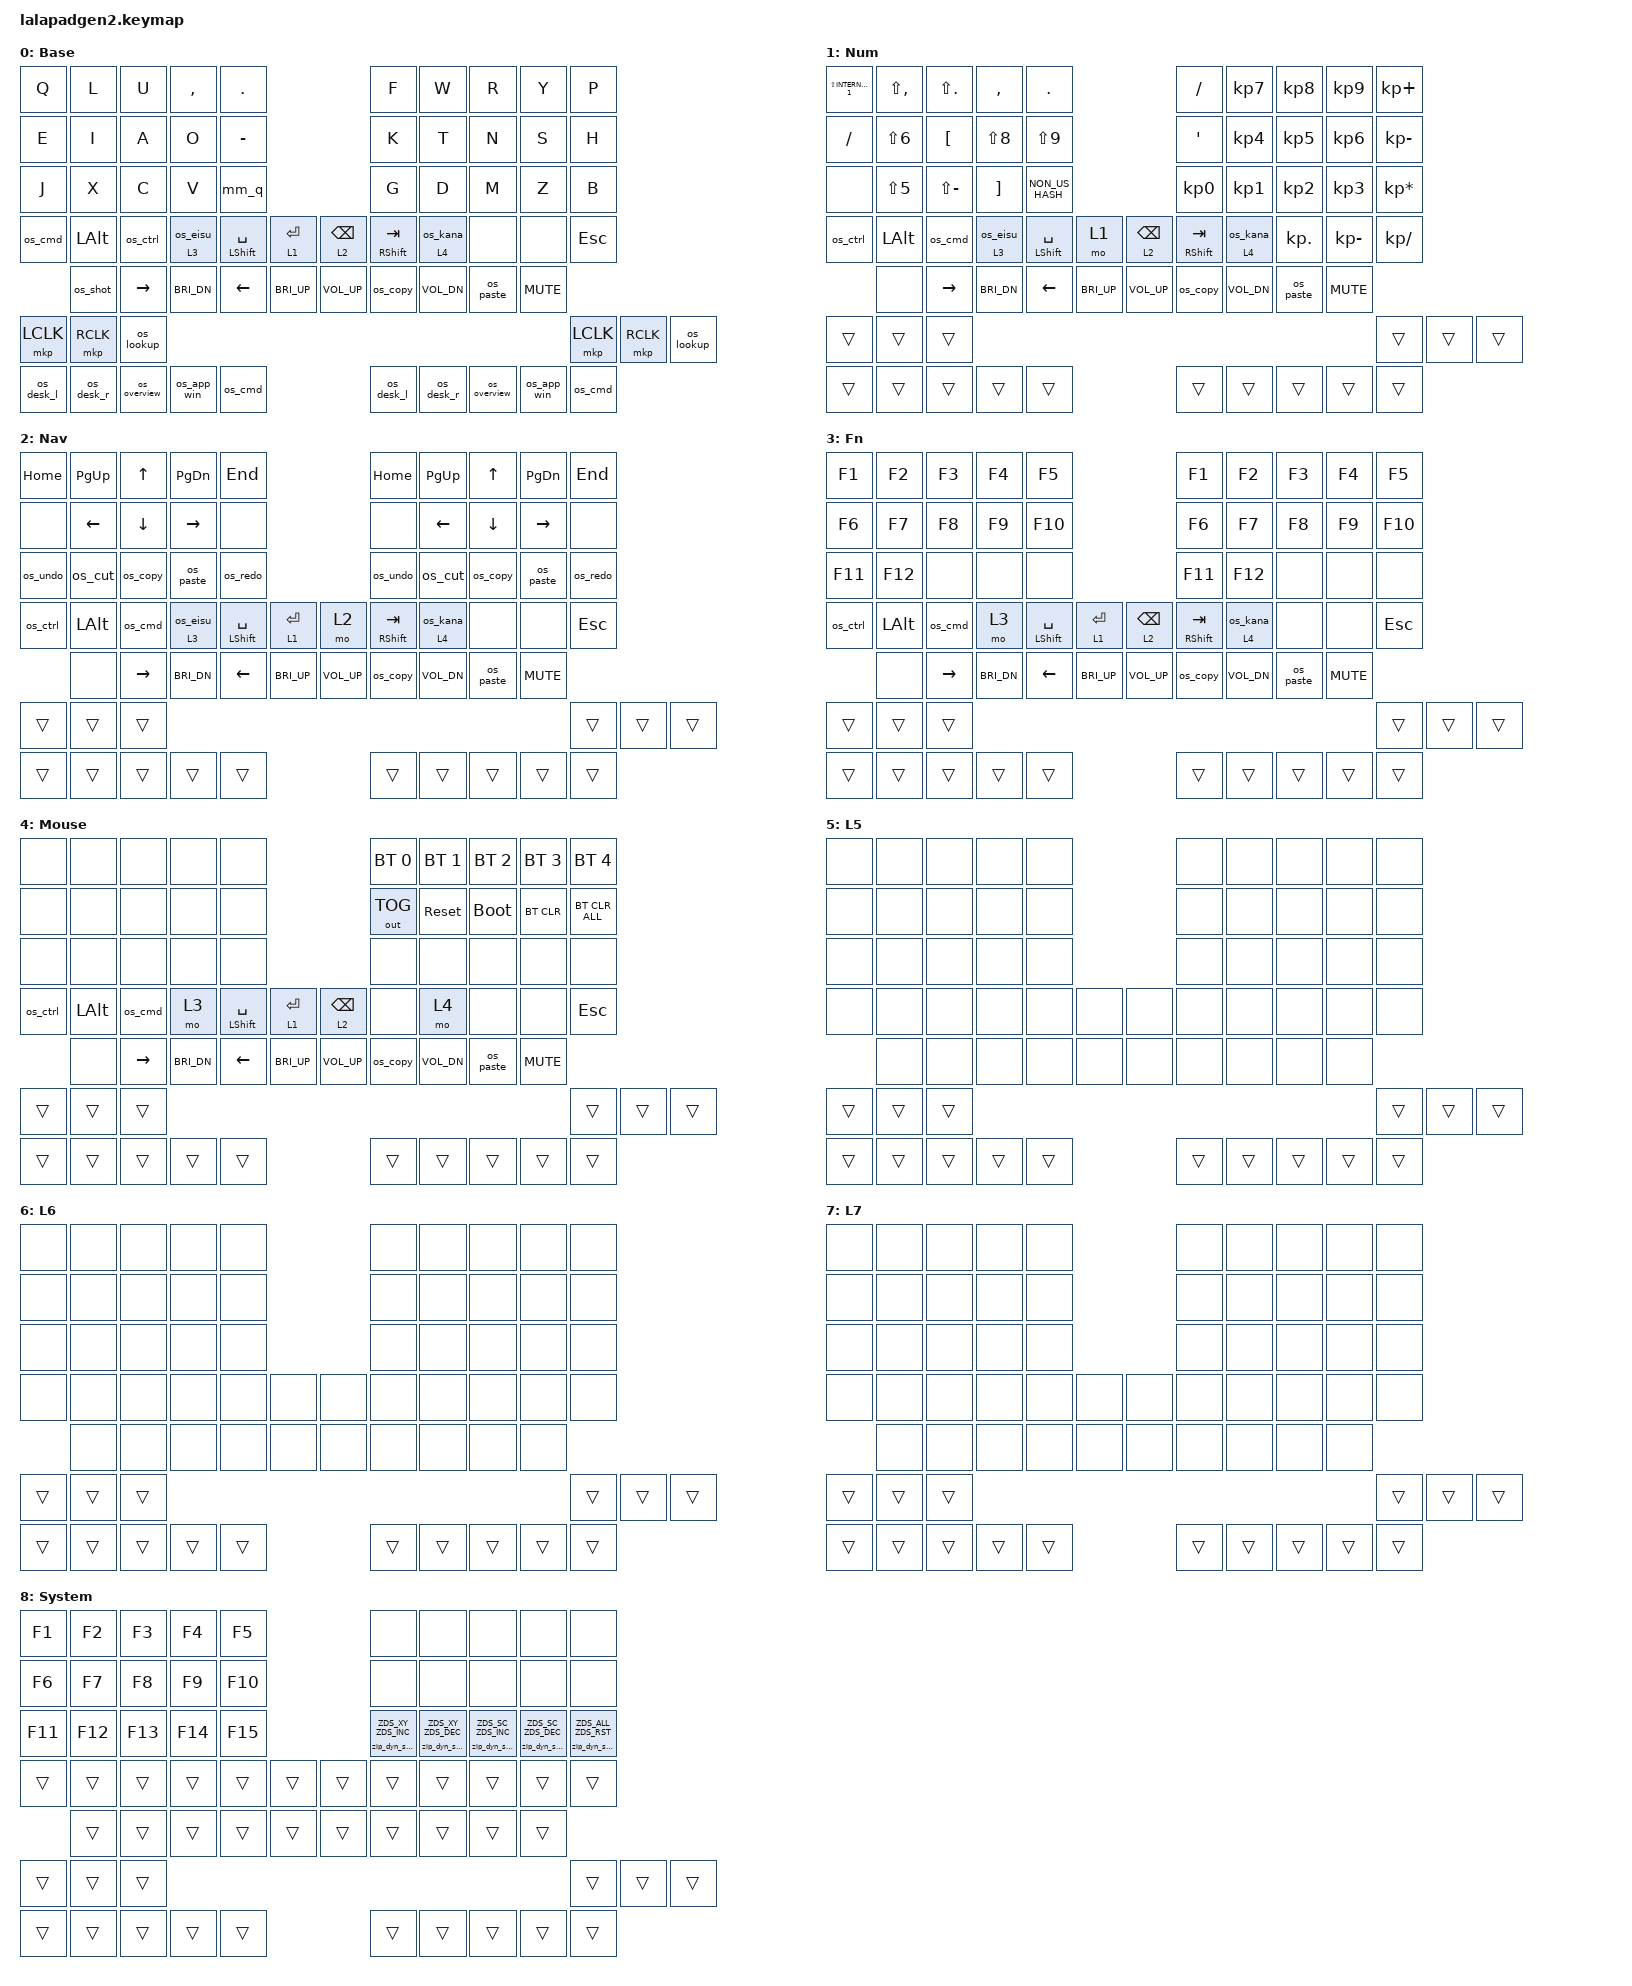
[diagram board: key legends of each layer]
/*
 * LaLapad Gen2 キーマップ — Cornix の Cornix_20261126.vil（10レイヤー）から起こしたもの
 * （REQ-189 で作成、REQ-192・REQ-193 の Gen2 側の決めごと、REQ-194 で .vil を差し替え）
 *
 * 正本は docs/cornix_20261126.vil と tools/vil2zmk.py（このファイルは生成物。手で直さず、再生成する）。
 *   python3 tools/vil2zmk.py docs/cornix_20261126.vil config/lalapadgen2.keymap
 *   python3 tools/gen_visualizer.py
 *
 * レイヤー: 0 Base(大西) / 1 Num / 2 Nav / 3 Fn / 4 Mouse / 5-7 空き（.vil の L7〜L9）/ 8 System
 *   - .vil の L5（QWERTY）と L6（別のカナ配列）は移さない（REQ-195 追記2）。後ろのレイヤーは 2 つずつ繰り上がる
 *   - 1 と 2 を同時に押すと 8 System（Gen2 標準の Num+Nav→System と同じ仕組み）。F1〜F15 とトラックパッドの速さ
 *   - トラックパッドの低速モードは shield 側で layer 1・2 に掛かる（Gen2 標準のまま）
 *   - 左下段の修飾キーは .vil どおり（L0 は ⌘・Opt・Ctrl、L1〜L4 は Ctrl・Opt・⌘）
 *   - 右下段は .vil どおり（Base は Esc）。Delete・戻る の仮置きはしない（REQ-194 判断点 (e)）
 *   - Num の右下段: Esc を外し、その位置に /、隣に -（REQ-194 追記）
 *   - BT 切り替え: かな長押し（4 Mouse）の右手上段に BT 1〜5（BT_SEL 0〜4）、その下の段に
 *     出力先切替・リセット・ブートローダー・BT 登録解除・全解除（REQ-195 追記3。System から移した）
 *   - 5方向スイッチ（L0〜L4）: 左右＝←→／⌘C・⌘V、上下＝輝度／音量（REQ-192・193）、押し込みは .vil どおり
 *   - トラックパッドのジェスチャーは macOS の作法（⌃←/⌃→・Mission Control など）
 *   - コンボ・マクロは .vil の定義どおり（Shift の親指＋? で !、M0）。コンボの待ち時間は 50 ms（判断点 (k)）
 *   - ？ のキーは mod-morph でも変換する（シフトを保持したまま ？ を押しても ！、REQ-195 追記5）
 *   - レイヤー間の切替（REQ-195 追記6）: Num / Nav / Fn / Mouse では親指のレイヤーキー位置が &to（切替）。
 *     他のレイヤーのキー位置を押すとそのレイヤーへ移り、自分のキー位置を押すと Base へ戻る。
 *     Num の英数・かな位置だけは長押しのまま（タップが要るため）。System は従来どおり Base で両長押し
 *   - 接続先 OS で変わる割当（REQ-195）: Bluetooth プロファイル 4・5（BT_SEL 3・4）と USB は Windows 用、
 *     Bluetooth プロファイル 1〜3 とどこにも接続していないときは Mac 用（USB は追記4）。os_* の behavior（src/behaviors/behavior_os_morph.c）が押した瞬間に選ぶ。
 *     bindings の 1 番目が Mac 用（.vil どおり）、2 番目が Windows 用
 */

#define ZMK_POINTING_DEFAULT_SCRL_VAL 120   /* smooth scrolling 有効時の推奨値 */

#include <input/processors.dtsi>
#include <dt-bindings/zmk/zip_dynamic_scale.h>
#include <behaviors.dtsi>
#include <dt-bindings/zmk/bt.h>
#include <dt-bindings/zmk/keys.h>
#include <dt-bindings/zmk/modifiers.h>
#include <dt-bindings/zmk/outputs.h>
#include <dt-bindings/zmk/pointing.h>

#define BASE   0
#define NUM    1
#define NAV    2
#define FUNC   3
#define MOUSE  4
#define SYSTEM 8

/* 片手側のキー位置（Chordal Hold 相当の判定に使う） */
#define KEYS_L 0 1 2 3 4 10 11 12 13 14 20 21 22 23 24
#define KEYS_R 5 6 7 8 9 15 16 17 18 19 25 26 27 28 29
#define THUMBS 30 31 32 33 34 35 36 37 38 39 40 41

/* .vil の設定: Tapping Term 250 / Permissive Hold オン / Hold On Other Key Press オフ /
 *              Chordal Hold オン / Flow Tap 120 / Quick Tap Term は未設定（= Tapping Term） */
&lt {
    flavor = "balanced";
    tapping-term-ms = <250>;
    quick-tap-ms = <250>;
    require-prior-idle-ms = <120>;
};

/ {
    behaviors {
        zip_dyn_scale: zip_dyn_scale {
            compatible = "zmk,behavior-zip-dynamic-scale";
            #binding-cells = <2>;
        };

        zip_dyn_scale_set: zip_dyn_scale_set {
            compatible = "zmk,behavior-zip-dynamic-scale-set";
            #binding-cells = <2>;
        };

        /* 左手側の mod-tap: 反対の手か親指と同時押しのときだけホールドにする */
        ht_l: hold_tap_left {
            compatible = "zmk,behavior-hold-tap";
            #binding-cells = <2>;
            flavor = "balanced";
            tapping-term-ms = <250>;
            quick-tap-ms = <250>;
            require-prior-idle-ms = <120>;
            hold-trigger-key-positions = <KEYS_R THUMBS>;
            hold-trigger-on-release;
            bindings = <&kp>, <&kp>;
        };

        /* 右手側の mod-tap */
        ht_r: hold_tap_right {
            compatible = "zmk,behavior-hold-tap";
            #binding-cells = <2>;
            flavor = "balanced";
            tapping-term-ms = <250>;
            quick-tap-ms = <250>;
            require-prior-idle-ms = <120>;
            hold-trigger-key-positions = <KEYS_L THUMBS>;
            hold-trigger-on-release;
            bindings = <&kp>, <&kp>;
        };

        /* .vil のマクロ M0: down KC_LCTRL+KC_LSHIFT+KC_LGUI → tap KC_KP_4 → up KC_LGUI+KC_LSHIFT+KC_LCTRL */
        m0: macro_m0 {
            compatible = "zmk,behavior-macro";
            #binding-cells = <0>;
            bindings
                = <&macro_press &kp LCTRL &kp LSHIFT &kp LGUI>
                , <&macro_tap &kp KP_N4>
                , <&macro_release &kp LGUI &kp LSHIFT &kp LCTRL>;
        };

        /* ⌘ → Ctrl（⌘ の位置で Windows のショートカット） */
        os_cmd: os_cmd {
            compatible = "lalapad,behavior-os-morph";
            #binding-cells = <0>;
            bindings = <&kp LGUI>, <&kp LCTRL>;
        };

        /* Ctrl → Win キー */
        os_ctrl: os_ctrl {
            compatible = "lalapad,behavior-os-morph";
            #binding-cells = <0>;
            bindings = <&kp LCTRL>, <&kp LGUI>;
        };

        /* 取り消し ⌘Z → Ctrl+Z */
        os_undo: os_undo {
            compatible = "lalapad,behavior-os-morph";
            #binding-cells = <0>;
            bindings = <&kp LG(Z)>, <&kp LC(Z)>;
        };

        /* カット ⌘X → Ctrl+X */
        os_cut: os_cut {
            compatible = "lalapad,behavior-os-morph";
            #binding-cells = <0>;
            bindings = <&kp LG(X)>, <&kp LC(X)>;
        };

        /* コピー ⌘C → Ctrl+C */
        os_copy: os_copy {
            compatible = "lalapad,behavior-os-morph";
            #binding-cells = <0>;
            bindings = <&kp LG(C)>, <&kp LC(C)>;
        };

        /* ペースト ⌘V → Ctrl+V */
        os_paste: os_paste {
            compatible = "lalapad,behavior-os-morph";
            #binding-cells = <0>;
            bindings = <&kp LG(V)>, <&kp LC(V)>;
        };

        /* やり直し ⇧⌘Z → Ctrl+Y */
        os_redo: os_redo {
            compatible = "lalapad,behavior-os-morph";
            #binding-cells = <0>;
            bindings = <&kp LS(LG(Z))>, <&kp LC(Y)>;
        };

        /* 英数 → 無変換（Windows の IME オフ。MS-IME の設定が要る） */
        os_eisu: os_eisu {
            compatible = "lalapad,behavior-os-morph";
            #binding-cells = <0>;
            bindings = <&kp LANG2>, <&kp INTERNATIONAL_5>;
        };

        /* かな → 変換（Windows の IME オン。MS-IME の設定が要る） */
        os_kana: os_kana {
            compatible = "lalapad,behavior-os-morph";
            #binding-cells = <0>;
            bindings = <&kp LANG1>, <&kp INTERNATIONAL_4>;
        };

        /* 左の操作スペース ⌃← → 左の仮想デスクトップ Win+Ctrl+← */
        os_desk_l: os_desk_l {
            compatible = "lalapad,behavior-os-morph";
            #binding-cells = <0>;
            bindings = <&kp LC(LEFT)>, <&kp LC(LG(LEFT))>;
        };

        /* 右の操作スペース ⌃→ → 右の仮想デスクトップ Win+Ctrl+→ */
        os_desk_r: os_desk_r {
            compatible = "lalapad,behavior-os-morph";
            #binding-cells = <0>;
            bindings = <&kp LC(RIGHT)>, <&kp LC(LG(RIGHT))>;
        };

        /* Mission Control ⌃↑ → タスクビュー Win+Tab */
        os_overview: os_overview {
            compatible = "lalapad,behavior-os-morph";
            #binding-cells = <0>;
            bindings = <&kp LC(UP)>, <&kp LG(TAB)>;
        };

        /* アプリケーションウインドウ ⌃↓ → デスクトップを表示 Win+D */
        os_app_win: os_app_win {
            compatible = "lalapad,behavior-os-morph";
            #binding-cells = <0>;
            bindings = <&kp LC(DOWN)>, <&kp LG(D)>;
        };

        /* 調べる ⌃⌘D → 中クリック（Gen2 標準の Windows 向け割当） */
        os_lookup: os_lookup {
            compatible = "lalapad,behavior-os-morph";
            #binding-cells = <0>;
            bindings = <&kp LC(LG(D))>, <&mkp MCLK>;
        };

        /* マクロ M0（⌃⇧⌘＋テンキー4）→ 画面の切り取り Win+Shift+S */
        os_shot: os_shot {
            compatible = "lalapad,behavior-os-morph";
            #binding-cells = <0>;
            bindings = <&m0>, <&kp LG(LS(S))>;
        };

        /* ？（Shift＋/）→ シフト中は ！（Shift＋1） */
        mm_q: mm_q {
            compatible = "zmk,behavior-mod-morph";
            #binding-cells = <0>;
            bindings = <&kp LS(SLASH)>, <&kp LS(N1)>;
            mods = <(MOD_LSFT|MOD_RSFT)>;
        };

        /* &lt と同じ設定で、タップが os_eisu（Mac=英数／Windows=無変換） */
        lt_eisu: lt_eisu {
            compatible = "zmk,behavior-hold-tap";
            #binding-cells = <2>;
            flavor = "balanced";
            tapping-term-ms = <250>;
            quick-tap-ms = <250>;
            require-prior-idle-ms = <120>;
            bindings = <&mo>, <&os_eisu>;
        };

        /* &lt と同じ設定で、タップが os_kana（Mac=かな／Windows=変換） */
        lt_kana: lt_kana {
            compatible = "zmk,behavior-hold-tap";
            #binding-cells = <2>;
            flavor = "balanced";
            tapping-term-ms = <250>;
            quick-tap-ms = <250>;
            require-prior-idle-ms = <120>;
            bindings = <&mo>, <&os_kana>;
        };
    };

    combos {
        compatible = "zmk,combos";

        /* .vil のコンボ 0: LSFT_T(KC_SPACE) + LSFT(KC_SLASH) → LSFT(KC_1) */
        combo_0 {
            timeout-ms = <50>;
            key-positions = <34 24>;
            bindings = <&kp LS(N1)>;
            layers = <BASE>;
        };

        /* .vil のコンボ 1: RSFT_T(KC_TAB) + LSFT(KC_SLASH) → LSFT(KC_1) */
        combo_1 {
            timeout-ms = <50>;
            key-positions = <37 24>;
            bindings = <&kp LS(N1)>;
            layers = <BASE>;
        };
    };

    keymap {
        compatible = "zmk,keymap";

        base_layer {
            display-name = "Base";
            bindings = <
&kp Q               &kp L               &kp U               &kp COMMA           &kp DOT                                                   &kp F               &kp W               &kp R               &kp Y               &kp P
&kp E               &kp I               &kp A               &kp O               &kp MINUS                                                 &kp K               &kp T               &kp N               &kp S               &kp H
&kp J               &kp X               &kp C               &kp V               &mm_q                                                     &kp G               &kp D               &kp M               &kp Z               &kp B
&os_cmd             &kp LALT            &os_ctrl            &lt_eisu 3 0        &ht_l LSHIFT SPACE  &lt 1 ENTER         &lt 2 BSPC          &ht_r RSHIFT TAB    &lt_kana 4 0        &none               &none               &kp ESC
                    &os_shot            &kp RIGHT           &kp C_BRI_DN        &kp LEFT            &kp C_BRI_UP        &kp C_VOL_UP        &os_copy            &kp C_VOL_DN        &os_paste           &kp C_MUTE
&mkp LCLK           &mkp RCLK           &os_lookup                                                                                                                                                                    &mkp LCLK           &mkp RCLK           &os_lookup
&os_desk_l          &os_desk_r          &os_overview        &os_app_win         &os_cmd                                                   &os_desk_l          &os_desk_r          &os_overview        &os_app_win         &os_cmd
            >;
        };

        num_layer {
            display-name = "Num";
            bindings = <
&kp LS(INTERNATIONAL_1)  &kp LS(COMMA)            &kp LS(DOT)              &kp COMMA                &kp DOT                                                                  &kp SLASH                &kp KP_N7                &kp KP_N8                &kp KP_N9                &kp KP_PLUS
&kp SLASH                &kp LS(N6)               &kp LBKT                 &kp LS(N8)               &kp LS(N9)                                                               &kp SQT                  &kp KP_N4                &kp KP_N5                &kp KP_N6                &kp KP_MINUS
&none                    &kp LS(N5)               &kp LS(MINUS)            &kp RBKT                 &kp NON_US_HASH                                                          &kp KP_N0                &kp KP_N1                &kp KP_N2                &kp KP_N3                &kp KP_MULTIPLY
&os_ctrl                 &kp LALT                 &os_cmd                  &lt_eisu 3 0             &ht_l LSHIFT SPACE       &mo 1                    &lt 2 BSPC               &ht_r RSHIFT TAB         &lt_kana 4 0             &kp KP_DOT               &kp KP_MINUS             &kp KP_DIVIDE
                         &none                    &kp RIGHT                &kp C_BRI_DN             &kp LEFT                 &kp C_BRI_UP             &kp C_VOL_UP             &os_copy                 &kp C_VOL_DN             &os_paste                &kp C_MUTE
&trans                   &trans                   &trans                                                                                                                                                                                                                     &trans                   &trans                   &trans
&trans                   &trans                   &trans                   &trans                   &trans                                                                   &trans                   &trans                   &trans                   &trans                   &trans
            >;
        };

        nav_layer {
            display-name = "Nav";
            bindings = <
&kp HOME            &kp PG_UP           &kp UP              &kp PG_DN           &kp END                                                   &kp HOME            &kp PG_UP           &kp UP              &kp PG_DN           &kp END
&none               &kp LEFT            &kp DOWN            &kp RIGHT           &none                                                     &none               &kp LEFT            &kp DOWN            &kp RIGHT           &none
&os_undo            &os_cut             &os_copy            &os_paste           &os_redo                                                  &os_undo            &os_cut             &os_copy            &os_paste           &os_redo
&os_ctrl            &kp LALT            &os_cmd             &lt_eisu 3 0        &ht_l LSHIFT SPACE  &lt 1 ENTER         &mo 2               &ht_r RSHIFT TAB    &lt_kana 4 0        &none               &none               &kp ESC
                    &none               &kp RIGHT           &kp C_BRI_DN        &kp LEFT            &kp C_BRI_UP        &kp C_VOL_UP        &os_copy            &kp C_VOL_DN        &os_paste           &kp C_MUTE
&trans              &trans              &trans                                                                                                                                                                        &trans              &trans              &trans
&trans              &trans              &trans              &trans              &trans                                                    &trans              &trans              &trans              &trans              &trans
            >;
        };

        func_layer {
            display-name = "Fn";
            bindings = <
&kp F1              &kp F2              &kp F3              &kp F4              &kp F5                                                    &kp F1              &kp F2              &kp F3              &kp F4              &kp F5
&kp F6              &kp F7              &kp F8              &kp F9              &kp F10                                                   &kp F6              &kp F7              &kp F8              &kp F9              &kp F10
&kp F11             &kp F12             &none               &none               &none                                                     &kp F11             &kp F12             &none               &none               &none
&os_ctrl            &kp LALT            &os_cmd             &mo 3               &ht_l LSHIFT SPACE  &lt 1 ENTER         &lt 2 BSPC          &ht_r RSHIFT TAB    &lt_kana 4 0        &none               &none               &kp ESC
                    &none               &kp RIGHT           &kp C_BRI_DN        &kp LEFT            &kp C_BRI_UP        &kp C_VOL_UP        &os_copy            &kp C_VOL_DN        &os_paste           &kp C_MUTE
&trans              &trans              &trans                                                                                                                                                                        &trans              &trans              &trans
&trans              &trans              &trans              &trans              &trans                                                    &trans              &trans              &trans              &trans              &trans
            >;
        };

        mouse_layer {
            display-name = "Mouse";
            bindings = <
&none               &none               &none               &none               &none                                                     &bt BT_SEL 0        &bt BT_SEL 1        &bt BT_SEL 2        &bt BT_SEL 3        &bt BT_SEL 4
&none               &none               &none               &none               &none                                                     &out OUT_TOG        &sys_reset          &bootloader         &bt BT_CLR          &bt BT_CLR_ALL
&none               &none               &none               &none               &none                                                     &none               &none               &none               &none               &none
&os_ctrl            &kp LALT            &os_cmd             &mo 3               &ht_l LSHIFT SPACE  &lt 1 ENTER         &lt 2 BSPC          &none               &mo 4               &none               &none               &kp ESC
                    &none               &kp RIGHT           &kp C_BRI_DN        &kp LEFT            &kp C_BRI_UP        &kp C_VOL_UP        &os_copy            &kp C_VOL_DN        &os_paste           &kp C_MUTE
&trans              &trans              &trans                                                                                                                                                                        &trans              &trans              &trans
&trans              &trans              &trans              &trans              &trans                                                    &trans              &trans              &trans              &trans              &trans
            >;
        };

        l5_layer {
            display-name = "L5";
            bindings = <
&none   &none   &none   &none   &none                 &none   &none   &none   &none   &none
&none   &none   &none   &none   &none                 &none   &none   &none   &none   &none
&none   &none   &none   &none   &none                 &none   &none   &none   &none   &none
&none   &none   &none   &none   &none   &none   &none   &none   &none   &none   &none   &none
        &none   &none   &none   &none   &none   &none   &none   &none   &none   &none
&trans  &trans  &trans                                                            &trans  &trans  &trans
&trans  &trans  &trans  &trans  &trans                &trans  &trans  &trans  &trans  &trans
            >;
        };

        l6_layer {
            display-name = "L6";
            bindings = <
&none   &none   &none   &none   &none                 &none   &none   &none   &none   &none
&none   &none   &none   &none   &none                 &none   &none   &none   &none   &none
&none   &none   &none   &none   &none                 &none   &none   &none   &none   &none
&none   &none   &none   &none   &none   &none   &none   &none   &none   &none   &none   &none
        &none   &none   &none   &none   &none   &none   &none   &none   &none   &none
&trans  &trans  &trans                                                            &trans  &trans  &trans
&trans  &trans  &trans  &trans  &trans                &trans  &trans  &trans  &trans  &trans
            >;
        };

        l7_layer {
            display-name = "L7";
            bindings = <
&none   &none   &none   &none   &none                 &none   &none   &none   &none   &none
&none   &none   &none   &none   &none                 &none   &none   &none   &none   &none
&none   &none   &none   &none   &none                 &none   &none   &none   &none   &none
&none   &none   &none   &none   &none   &none   &none   &none   &none   &none   &none   &none
        &none   &none   &none   &none   &none   &none   &none   &none   &none   &none
&trans  &trans  &trans                                                            &trans  &trans  &trans
&trans  &trans  &trans  &trans  &trans                &trans  &trans  &trans  &trans  &trans
            >;
        };

        system_layer {
            display-name = "System";
            bindings = <
&kp F1                          &kp F2                          &kp F3                          &kp F4                          &kp F5                                                                                        &none                           &none                           &none                           &none                           &none
&kp F6                          &kp F7                          &kp F8                          &kp F9                          &kp F10                                                                                       &none                           &none                           &none                           &none                           &none
&kp F11                         &kp F12                         &kp F13                         &kp F14                         &kp F15                                                                                       &zip_dyn_scale ZDS_XY ZDS_INC   &zip_dyn_scale ZDS_XY ZDS_DEC   &zip_dyn_scale ZDS_SC ZDS_INC   &zip_dyn_scale ZDS_SC ZDS_DEC   &zip_dyn_scale ZDS_ALL ZDS_RST
&trans                          &trans                          &trans                          &trans                          &trans                          &trans                          &trans                          &trans                          &trans                          &trans                          &trans                          &trans
                                &trans                          &trans                          &trans                          &trans                          &trans                          &trans                          &trans                          &trans                          &trans                          &trans
&trans                          &trans                          &trans                                                                                                                                                                                                                                                                                    &trans                          &trans                          &trans
&trans                          &trans                          &trans                          &trans                          &trans                                                                                        &trans                          &trans                          &trans                          &trans                          &trans
            >;
        };
    };

    conditional_layers {
        compatible = "zmk,conditional-layers";

        num_nav_to_system {
            if-layers = <NUM NAV>;
            then-layer = <SYSTEM>;
        };
    };
};
